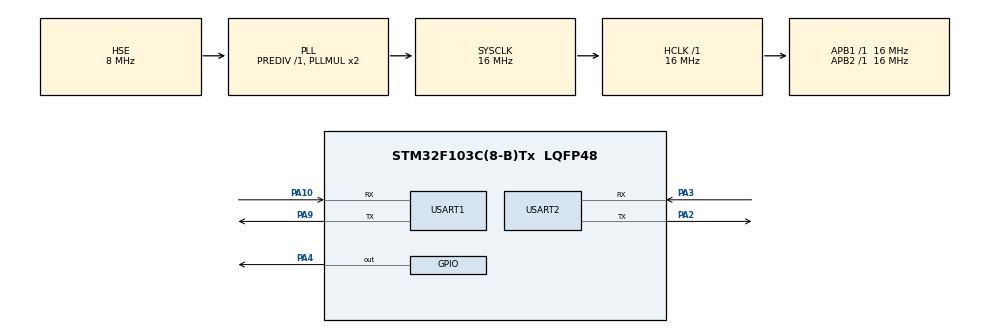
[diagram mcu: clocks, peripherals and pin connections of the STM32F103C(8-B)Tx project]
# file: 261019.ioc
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Dma.Request0=USART1_RX
Dma.Request1=USART1_TX
Dma.USART1_RX.0.Direction=DMA_PERIPH_TO_MEMORY
Dma.USART1_RX.0.Instance=DMA1_Channel5
Dma.USART1_RX.0.MemDataAlignment=DMA_MDATAALIGN_BYTE
Dma.USART1_RX.0.MemInc=DMA_MINC_ENABLE
Dma.USART1_RX.0.Mode=DMA_NORMAL
Dma.USART1_RX.0.PeriphDataAlignment=DMA_PDATAALIGN_BYTE
Dma.USART1_RX.0.PeriphInc=DMA_PINC_DISABLE
Dma.USART1_RX.0.Priority=DMA_PRIORITY_LOW
Dma.USART1_TX.1.Direction=DMA_MEMORY_TO_PERIPH
Dma.USART1_TX.1.Instance=DMA1_Channel4
Dma.USART1_TX.1.MemDataAlignment=DMA_MDATAALIGN_BYTE
Dma.USART1_TX.1.MemInc=DMA_MINC_ENABLE
Dma.USART1_TX.1.Mode=DMA_NORMAL
Dma.USART1_TX.1.PeriphDataAlignment=DMA_PDATAALIGN_BYTE
Dma.USART1_TX.1.PeriphInc=DMA_PINC_DISABLE
Dma.USART1_TX.1.Priority=DMA_PRIORITY_LOW
Mcu.Family=STM32F1
Mcu.Name=STM32F103C(8-B)Tx
Mcu.Package=LQFP48
NVIC.DMA1_Channel4_IRQn=true\:9\:0\:true\:false\:true\:false\:true
NVIC.DMA1_Channel5_IRQn=true\:9\:0\:true\:false\:true\:false\:true
NVIC.PriorityGroup=NVIC_PRIORITYGROUP_4
NVIC.TIM2_IRQn=true\:9\:0\:true\:false\:true\:true\:true
NVIC.USART1_IRQn=true\:10\:0\:true\:false\:true\:true\:true
NVIC.USART2_IRQn=true\:10\:0\:true\:false\:true\:true\:true
PA10.Mode=Asynchronous
PA10.Signal=USART1_RX
PA13.Mode=Serial_Wire
PA13.Signal=SYS_JTMS-SWDIO
PA14.Mode=Serial_Wire
PA14.Signal=SYS_JTCK-SWCLK
PA2.Mode=Asynchronous
PA2.Signal=USART2_TX
PA3.Mode=Asynchronous
PA3.Signal=USART2_RX
PA4.Signal=GPIO_Output
PA9.Mode=Asynchronous
PA9.Signal=USART1_TX
PC14-OSC32_IN.Mode=LSE-External-Oscillator
PC14-OSC32_IN.Signal=RCC_OSC32_IN
PC15-OSC32_OUT.Mode=LSE-External-Oscillator
PC15-OSC32_OUT.Signal=RCC_OSC32_OUT
PD0-OSC_IN.Mode=HSE-External-Oscillator
PD0-OSC_IN.Signal=RCC_OSC_IN
PD1-OSC_OUT.Mode=HSE-External-Oscillator
PD1-OSC_OUT.Signal=RCC_OSC_OUT
ProjectManager.HeapSize=0x200
ProjectManager.StackSize=0x400
ProjectManager.TargetToolchain=MDK-ARM V5.32
RCC.AHBFreq_Value=16000000
RCC.APB1Freq_Value=16000000
RCC.APB1TimFreq_Value=16000000
RCC.APB2Freq_Value=16000000
RCC.APB2TimFreq_Value=16000000
RCC.HCLKFreq_Value=16000000
RCC.PLLSourceVirtual=RCC_PLLSOURCE_HSE
RCC.SYSCLKFreq_VALUE=16000000
RCC.SYSCLKSource=RCC_SYSCLKSOURCE_PLLCLK
RCC.USBFreq_Value=16000000
TIM2.Period=49999
TIM2.Prescaler=159
USART1.VirtualMode=VM_ASYNC
USART2.VirtualMode=VM_ASYNC
VP_TIM2_VS_ClockSourceINT.Mode=Internal
board=custom

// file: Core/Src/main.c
/* USER CODE BEGIN Header */
/**
  ******************************************************************************
  * @file           : main.c
  * @brief          : Main program body
  ******************************************************************************
  * @attention
  *
  * Copyright (c) 2026 STMicroelectronics.
  * All rights reserved.
  *
  * This software is licensed under terms that can be found in the LICENSE file
  * in the root directory of this software component.
  * If no LICENSE file comes with this software, it is provided AS-IS.
  *
  ******************************************************************************
  */
/* USER CODE END Header */
#include "main.h"
#include "dma.h"
#include "tim.h"
#include "usart.h"
#include "gpio.h"

/* USER CODE BEGIN Includes */
#include <stdio.h>

/* USER CODE END Includes */

/* USER CODE BEGIN PV */
volatile uint8_t frame = 0;
volatile uint16_t length = 0;
uint8_t input[128];
volatile uint16_t timeget = 0;
/*adding this just for marking :)*/

/* USER CODE END PV */

void SystemClock_Config(void);

/* USER CODE BEGIN 0 */
static void DataProcessing(){
if(frame){
	char head[24];
	int n;
	n = sprintf(head, "[len=%u] ", (unsigned)length);
	HAL_UART_Transmit(&huart1, (uint8_t *)head, n, 10);
	HAL_UART_Transmit(&huart1, input, length, 10);
	HAL_UART_Transmit(&huart1, (uint8_t *)"\r\n", 2, 10);
	length = 0;
	frame = 0;
}
}
/* USER CODE END 0 */

int main(void)
{

  /* MCU Configuration--------------------------------------------------------*/

  /* Reset of all peripherals, Initializes the Flash interface and the Systick. */
  HAL_Init();

  /* Configure the system clock */
  SystemClock_Config();

  /* Initialize all configured peripherals */
	MX_DMA_Init();
  MX_GPIO_Init();
  MX_USART1_UART_Init();
  MX_USART2_UART_Init();
  MX_TIM2_Init();
  /* USER CODE BEGIN 2 */
		HAL_UART_Receive_DMA(&huart1, input, 128);
		__HAL_UART_ENABLE_IT(&huart1, UART_IT_IDLE);
		HAL_TIM_Base_Start_IT(&htim2);
  /* USER CODE END 2 */

  /* Infinite loop */
  while (1)
  {

    /* USER CODE BEGIN 3 */
  DataProcessing();
	}
  /* USER CODE END 3 */
}

void SystemClock_Config(void)
{
  RCC_OscInitTypeDef RCC_OscInitStruct = {0};
  RCC_ClkInitTypeDef RCC_ClkInitStruct = {0};

  /** Initializes the RCC Oscillators according to the specified parameters
  * in the RCC_OscInitTypeDef structure.
  */
  RCC_OscInitStruct.OscillatorType = RCC_OSCILLATORTYPE_HSE;
  RCC_OscInitStruct.HSEState = RCC_HSE_ON;
  RCC_OscInitStruct.HSEPredivValue = RCC_HSE_PREDIV_DIV1;
  RCC_OscInitStruct.HSIState = RCC_HSI_ON;
  RCC_OscInitStruct.PLL.PLLState = RCC_PLL_ON;
  RCC_OscInitStruct.PLL.PLLSource = RCC_PLLSOURCE_HSE;
  RCC_OscInitStruct.PLL.PLLMUL = RCC_PLL_MUL2;
  if (HAL_RCC_OscConfig(&RCC_OscInitStruct) != HAL_OK)
  {
    Error_Handler();
  }
  /** Initializes the CPU, AHB and APB buses clocks
  */
  RCC_ClkInitStruct.ClockType = RCC_CLOCKTYPE_HCLK|RCC_CLOCKTYPE_SYSCLK
                              |RCC_CLOCKTYPE_PCLK1|RCC_CLOCKTYPE_PCLK2;
  RCC_ClkInitStruct.SYSCLKSource = RCC_SYSCLKSOURCE_PLLCLK;
  RCC_ClkInitStruct.AHBCLKDivider = RCC_SYSCLK_DIV1;
  RCC_ClkInitStruct.APB1CLKDivider = RCC_HCLK_DIV1;
  RCC_ClkInitStruct.APB2CLKDivider = RCC_HCLK_DIV1;

  if (HAL_RCC_ClockConfig(&RCC_ClkInitStruct, FLASH_LATENCY_0) != HAL_OK)
  {
    Error_Handler();
  }
}

/* USER CODE BEGIN 4 */
/*Led*/
void HAL_TIM_PeriodElapsedCallback(TIM_HandleTypeDef *htim){
	/*if(htim->Instance == TIM2 ){
			HAL_GPIO_TogglePin(GPIOA, GPIO_PIN_4)
}*/
}

/* USER CODE END 4 */

void Error_Handler(void)
{
  __disable_irq();
  while (1)
  {
  }
}
